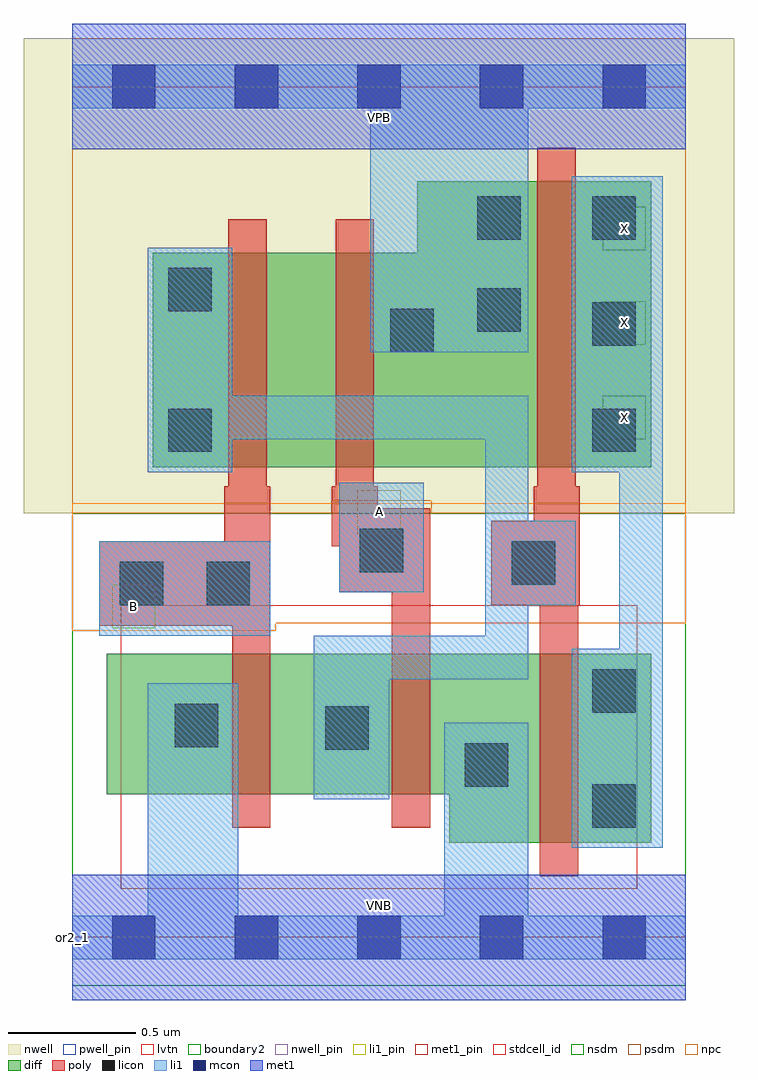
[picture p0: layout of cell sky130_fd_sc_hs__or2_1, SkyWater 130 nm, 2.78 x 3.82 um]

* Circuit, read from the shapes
.subckt sky130_fd_sc_hs__or2_1 A B VGND VNB VPB VPWR X
XM1 n1 B VGND VNB sky130_fd_pr__nfet_01v8_lvt w=0.55 l=0.15
XM2 VGND A n1 VNB sky130_fd_pr__nfet_01v8_lvt w=0.55 l=0.15
XM3 X n1 VGND VNB sky130_fd_pr__nfet_01v8_lvt w=0.74 l=0.15
XM4 n2 B n1 VPB sky130_fd_pr__pfet_01v8 w=0.84 l=0.15
XM5 VPWR A n2 VPB sky130_fd_pr__pfet_01v8 w=0.84 l=0.15
XM6 X n1 VPWR VPB sky130_fd_pr__pfet_01v8 w=1.12 l=0.15
.ends

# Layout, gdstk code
import gdstk
lib = gdstk.Library(unit=1e-6, precision=1e-09)
def R(c, l, rs):  # rectangles x0, y0, x1, y1
    for r in rs: c.add(gdstk.rectangle(r[:2], r[2:], *l))
def A(c, l, x, y, w, h, nx, ny, dx, dy):  # array of equal rectangles
    R(c, l, [(x+i*dx, y+j*dy, x+i*dx+w, y+j*dy+h) for i in range(nx) for j in range(ny)])
def P(c, l, *ps):  # polygons
    for p in ps: c.add(gdstk.Polygon(p, *l))
nwell_pin = (64, 16)
nwell = (64, 20)
diff = (65, 20)
poly = (66, 20)
licon = (66, 44)
li1_pin = (67, 16)
li1 = (67, 20)
mcon = (67, 44)
met1_pin = (68, 16)
met1 = (68, 20)
stdcell_id = (81, 4)
nsdm = (93, 44)
psdm = (94, 20)
npc = (95, 20)
pwell_pin = (122, 16)
lvtn = (125, 44)
boundary2 = (236, 0)

sky130_fd_sc_hs__or2_1 = lib.new_cell('sky130_fd_sc_hs__or2_1')
R(sky130_fd_sc_hs__or2_1, nwell_pin, [(0,3.085,2.4,3.33)])
R(sky130_fd_sc_hs__or2_1, nwell, [(-0.19,1.66,2.59,3.52)])
P(sky130_fd_sc_hs__or2_1, diff, [(2.265,2.96),(1.35,2.96),(1.35,2.68),(0.315,2.68),(0.315,1.84),(2.265,1.84)],
  [(2.265,1.11),(0.135,1.11),(0.135,0.56),(1.475,0.56),(1.475,0.37),(2.265,0.37)])
P(sky130_fd_sc_hs__or2_1, poly, [(0.775,1.765),(0.76,1.765),(0.76,2.81),(0.61,2.81),(0.61,1.765),(0.595,1.765),(0.595,1.55),(0.105,1.55),(0.105,1.22),(0.625,1.22),(0.625,0.43),(0.775,0.43)],
  [(1.4,1.68),(1.195,1.68),(1.195,1.765),(1.18,1.765),(1.18,2.81),(1.03,2.81),(1.03,1.765),(1.015,1.765),(1.015,1.53),(1.045,1.53),(1.045,1.35),(1.25,1.35),(1.25,0.43),(1.4,0.43)],
  [(1.985,1.765),(1.97,1.765),(1.97,3.09),(1.82,3.09),(1.82,1.765),(1.805,1.765),(1.805,1.63),(1.64,1.63),(1.64,1.3),(1.83,1.3),(1.83,0.24),(1.98,0.24),(1.98,1.3),(1.985,1.3)])
A(sky130_fd_sc_hs__or2_1, licon, 2.035, 1.9, 0.17, 0.17, 1, 3, 0, 0.415)
R(sky130_fd_sc_hs__or2_1, licon, [(2.035,0.43,2.205,0.6), (1.535,0.59,1.705,0.76), (0.99,0.735,1.16,0.905), (0.4,0.745,0.57,0.915), (2.035,0.88,2.205,1.05), (0.185,1.3,0.355,1.47), (0.525,1.3,0.695,1.47), (1.72,1.38,1.89,1.55), (1.125,1.43,1.295,1.6), (0.375,1.9,0.545,2.07), (1.245,2.29,1.415,2.46), (1.585,2.37,1.755,2.54), (0.375,2.45,0.545,2.62), (1.585,2.73,1.755,2.9)])
A(sky130_fd_sc_hs__or2_1, li1_pin, 2.075, 1.95, 0.17, 0.17, 1, 3, 0, 0.37)
R(sky130_fd_sc_hs__or2_1, li1_pin, [(0.155,1.21,0.325,1.38), (1.115,1.58,1.285,1.75)])
R(sky130_fd_sc_hs__or2_1, li1, [(0.105,1.18,0.775,1.55), (1.045,1.35,1.375,1.78)])
P(sky130_fd_sc_hs__or2_1, li1, [(1.165,2.29),(1.165,3.245),(0,3.245),(0,3.415),(2.4,3.415),(2.4,3.245),(1.785,3.245),(1.785,2.29)],
  [(1.455,0.085),(1.455,0.84),(1.785,0.84),(1.785,0.085),(2.4,0.085),(2.4,-0.085),(0,-0.085),(0,0.085),(0.295,0.085),(0.295,0.995),(0.65,0.995),(0.65,0.085)],
  [(1.785,1.01),(1.24,1.01),(1.24,0.54),(0.945,0.54),(0.945,1.18),(1.615,1.18),(1.615,1.95),(0.625,1.95),(0.625,1.82),(0.295,1.82),(0.295,2.7),(0.625,2.7),(0.625,2.12),(1.785,2.12),(1.785,1.63),(1.97,1.63),(1.97,1.3),(1.785,1.3)],
  [(2.14,1.13),(2.14,1.82),(1.955,1.82),(1.955,2.98),(2.31,2.98),(2.31,0.35),(1.955,0.35),(1.955,1.13)])
A(sky130_fd_sc_hs__or2_1, mcon, 0.155, -0.085, 0.17, 0.17, 5, 2, 0.48, 3.33)
R(sky130_fd_sc_hs__or2_1, met1_pin, [(0,0,2.4,0.245), (0,3.085,2.4,3.33)])
R(sky130_fd_sc_hs__or2_1, met1, [(0,-0.245,2.4,0.245), (0,3.085,2.4,3.575)])
R(sky130_fd_sc_hs__or2_1, stdcell_id, [(0,0,2.4,3.33)])
R(sky130_fd_sc_hs__or2_1, nsdm, [(0,-0.19,2.4,1.66)])
P(sky130_fd_sc_hs__or2_1, psdm, [(2.4,3.52),(0,3.52),(0,1.66),(1.015,1.66),(1.015,1.71),(1.405,1.71),(1.405,1.66),(2.4,1.66)])
P(sky130_fd_sc_hs__or2_1, npc, [(2.4,1.7),(0,1.7),(0,1.2),(0.795,1.2),(0.795,1.23),(2.4,1.23)])
R(sky130_fd_sc_hs__or2_1, pwell_pin, [(0,0,2.4,0.245)])
R(sky130_fd_sc_hs__or2_1, lvtn, [(0.19,0.19,2.21,1.3)])
R(sky130_fd_sc_hs__or2_1, boundary2, [(0,0,2.4,3.33)])
sky130_fd_sc_hs__or2_1.add(gdstk.Label('or2_1', (0,0), layer=83, texttype=44))
sky130_fd_sc_hs__or2_1.add(gdstk.Label('VNB', (1.2,0.123), layer=64, texttype=59))
sky130_fd_sc_hs__or2_1.add(gdstk.Label('VPB', (1.2,3.208), layer=64, texttype=5))
sky130_fd_sc_hs__or2_1.add(gdstk.Label('VPWR', (1.2,3.208), layer=68, texttype=5))
sky130_fd_sc_hs__or2_1.add(gdstk.Label('VGND', (1.2,0.123), layer=68, texttype=5))
sky130_fd_sc_hs__or2_1.add(gdstk.Label('B', (0.24,1.295), layer=67, texttype=5))
sky130_fd_sc_hs__or2_1.add(gdstk.Label('A', (1.2,1.665), layer=67, texttype=5))
sky130_fd_sc_hs__or2_1.add(gdstk.Label('X', (2.16,2.035), layer=67, texttype=5))
sky130_fd_sc_hs__or2_1.add(gdstk.Label('X', (2.16,2.405), layer=67, texttype=5))
sky130_fd_sc_hs__or2_1.add(gdstk.Label('X', (2.16,2.775), layer=67, texttype=5))

lib.write_gds('sky130_fd_sc_hs__or2_1.gds')
